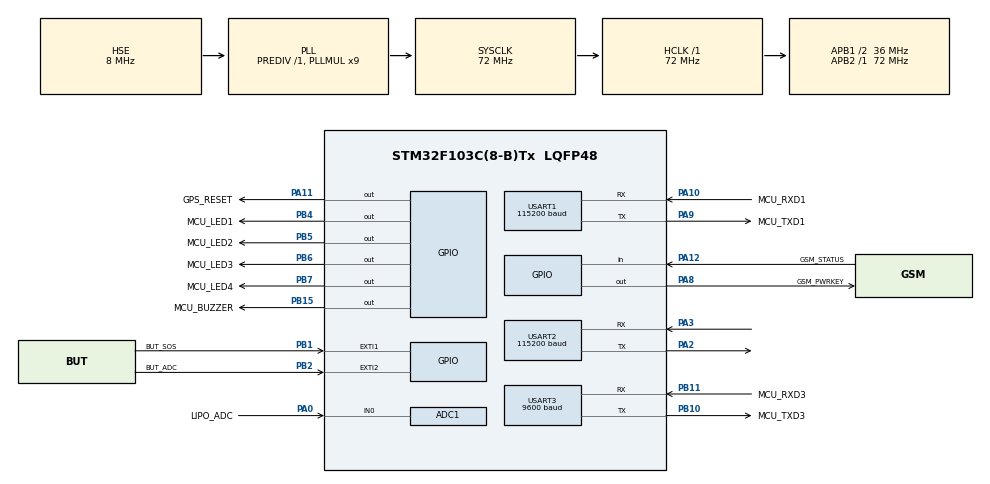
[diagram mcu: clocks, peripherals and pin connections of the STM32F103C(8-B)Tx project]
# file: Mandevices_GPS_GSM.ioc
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ADC1.Channel-0\#ChannelRegularConversion=ADC_CHANNEL_0
ADC1.ContinuousConvMode=ENABLE
ADC1.NbrOfConversionFlag=1
ADC1.Rank-0\#ChannelRegularConversion=1
ADC1.SamplingTime-0\#ChannelRegularConversion=ADC_SAMPLETIME_1CYCLE_5
ADC1.master=1
Mcu.Family=STM32F1
Mcu.Name=STM32F103C(8-B)Tx
Mcu.Package=LQFP48
NVIC.EXTI1_IRQn=true\:0\:0\:false\:false\:true\:true\:true\:true
NVIC.EXTI2_IRQn=true\:0\:0\:false\:false\:true\:true\:true\:true
NVIC.PriorityGroup=NVIC_PRIORITYGROUP_4
NVIC.TIM1_UP_IRQn=true\:0\:0\:false\:false\:true\:true\:true\:true
NVIC.TIM2_IRQn=true\:1\:0\:true\:false\:true\:true\:true\:true
NVIC.TIM3_IRQn=true\:1\:0\:true\:false\:true\:true\:true\:true
NVIC.USART2_IRQn=true\:2\:0\:true\:false\:true\:true\:true\:true
NVIC.USART3_IRQn=true\:2\:0\:true\:false\:true\:true\:true\:true
PA0-WKUP.GPIO_Label=LIPO_ADC
PA0-WKUP.Signal=ADCx_IN0
PA10.GPIO_Label=MCU_RXD1
PA10.Mode=Asynchronous
PA10.Signal=USART1_RX
PA11.GPIO_Label=GPS_RESET
PA11.GPIO_PuPd=GPIO_NOPULL
PA11.GPIO_Speed=GPIO_SPEED_FREQ_HIGH
PA11.Signal=GPIO_Output
PA12.GPIO_Label=GSM_STATUS
PA12.Signal=GPIO_Input
PA13.Mode=Serial_Wire
PA13.Signal=SYS_JTMS-SWDIO
PA14.Mode=Serial_Wire
PA14.Signal=SYS_JTCK-SWCLK
PA2.GPIO_Mode=GPIO_MODE_AF_PP
PA2.GPIO_Speed=GPIO_SPEED_FREQ_HIGH
PA2.Mode=Asynchronous
PA2.Signal=USART2_TX
PA3.GPIO_Mode=GPIO_MODE_INPUT
PA3.GPIO_PuPd=GPIO_NOPULL
PA3.Mode=Asynchronous
PA3.Signal=USART2_RX
PA8.GPIO_Label=GSM_PWRKEY
PA8.GPIO_Speed=GPIO_SPEED_FREQ_HIGH
PA8.Signal=GPIO_Output
PA9.GPIO_Label=MCU_TXD1
PA9.Mode=Asynchronous
PA9.Signal=USART1_TX
PB1.GPIO_Label=BUT_SOS
PB1.GPIO_ModeDefaultEXTI=GPIO_MODE_IT_FALLING
PB1.GPIO_PuPd=GPIO_PULLUP
PB1.Signal=GPXTI1
PB10.GPIO_Label=MCU_TXD3
PB10.Mode=Asynchronous
PB10.Signal=USART3_TX
PB11.GPIO_Label=MCU_RXD3
PB11.Mode=Asynchronous
PB11.Signal=USART3_RX
PB15.GPIO_Label=MCU_BUZZER
PB15.GPIO_PuPd=GPIO_NOPULL
PB15.GPIO_Speed=GPIO_SPEED_FREQ_HIGH
PB15.Signal=GPIO_Output
PB2.GPIO_Label=BUT_ADC
PB2.GPIO_ModeDefaultEXTI=GPIO_MODE_IT_FALLING
PB2.GPIO_PuPd=GPIO_PULLUP
PB2.Signal=GPXTI2
PB4.GPIO_Label=MCU_LED1
PB4.GPIO_Speed=GPIO_SPEED_FREQ_HIGH
PB4.PinState=GPIO_PIN_SET
PB4.Signal=GPIO_Output
PB5.GPIO_Label=MCU_LED2
PB5.GPIO_Speed=GPIO_SPEED_FREQ_HIGH
PB5.PinState=GPIO_PIN_SET
PB5.Signal=GPIO_Output
PB6.GPIO_Label=MCU_LED3
PB6.GPIO_Speed=GPIO_SPEED_FREQ_HIGH
PB6.PinState=GPIO_PIN_SET
PB6.Signal=GPIO_Output
PB7.GPIO_Label=MCU_LED4
PB7.GPIO_Speed=GPIO_SPEED_FREQ_HIGH
PB7.PinState=GPIO_PIN_SET
PB7.Signal=GPIO_Output
PD0-OSC_IN.Mode=HSE-External-Oscillator
PD0-OSC_IN.Signal=RCC_OSC_IN
PD1-OSC_OUT.Mode=HSE-External-Oscillator
PD1-OSC_OUT.Signal=RCC_OSC_OUT
ProjectManager.HeapSize=0x200
ProjectManager.StackSize=0x400
ProjectManager.TargetToolchain=Makefile
RCC.ADCPresc=RCC_ADCPCLK2_DIV6
RCC.AHBFreq_Value=72000000
RCC.APB1CLKDivider=RCC_HCLK_DIV2
RCC.APB1Freq_Value=36000000
RCC.APB1TimFreq_Value=72000000
RCC.APB2Freq_Value=72000000
RCC.APB2TimFreq_Value=72000000
RCC.HCLKFreq_Value=72000000
RCC.PLLMUL=RCC_PLL_MUL9
RCC.PLLSourceVirtual=RCC_PLLSOURCE_HSE
RCC.SYSCLKFreq_VALUE=72000000
RCC.SYSCLKSource=RCC_SYSCLKSOURCE_PLLCLK
RCC.USBFreq_Value=72000000
SH.ADCx_IN0.0=ADC1_IN0,IN0
TIM1.Period=30000
TIM1.Prescaler=7200
TIM2.AutoReloadPreload=TIM_AUTORELOAD_PRELOAD_ENABLE
TIM2.Period=2000
TIM2.Prescaler=7200
TIM3.Prescaler=14399
USART1.BaudRate=115200
USART1.VirtualMode=VM_ASYNC
USART2.BaudRate=115200
USART2.VirtualMode=VM_ASYNC
USART3.BaudRate=9600
USART3.VirtualMode=VM_ASYNC
VP_TIM1_VS_ClockSourceINT.Mode=Internal
VP_TIM2_VS_ClockSourceINT.Mode=Internal
VP_TIM3_VS_ClockSourceINT.Mode=Internal
board=custom

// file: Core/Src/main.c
/* USER CODE BEGIN Header */
/**
  ******************************************************************************
  * @file           : main.c
  * @brief          : Main program body
  ******************************************************************************
  * @attention
  *
  * <h2><center>&copy; Copyright (c) 2022 STMicroelectronics.
  * All rights reserved.</center></h2>
  *
  * This software component is licensed by ST under BSD 3-Clause license,
  * the "License"; You may not use this file except in compliance with the
  * License. You may obtain a copy of the License at:
  *                        opensource.org/licenses/BSD-3-Clause
  *
  ******************************************************************************
  */
/* USER CODE END Header */
#include "main.h"
#include "adc.h"
#include "tim.h"
#include "usart.h"
#include "gpio.h"

/* USER CODE BEGIN Includes */
#include <stdio.h>
#include <string.h>
#include <stdlib.h>
#include <math.h>
#include "sim800c.h"
#include "l70.h"
/* USER CODE END Includes */

/* USER CODE BEGIN PV */
// char data[100];
bool SOSFlag = false;
char simNumber[20] = "0987035442";//0921342634
char latData[15] = {0};
char longData[15] = {0};
char simMessage[200] = {0};
char *GPSResponse;
char gps[500];

int count = 0;
char x;
int index1 = 0;
uint16_t ADC_value;

uint32_t Timesleepcurrent = 0;
uint32_t Timesleepstart   = 0;
bool flagsleep= false;
/* USER CODE END PV */

void SystemClock_Config(void);

/* USER CODE BEGIN 0 */

void HAL_UART_RxCpltCallback(UART_HandleTypeDef *huart)
{
  Timesleepstart = Timesleepcurrent;
  if(huart == &huart2)
  {
    sim800c_callback();
  }
  if(huart == &huart3)
  {
    l70_callback();
  }
}

void HAL_TIM_PeriodElapsedCallback(TIM_HandleTypeDef *htim)
{
  Timesleepstart = Timesleepcurrent;
  if(htim == &htim2)
  {
    sim800c_timerCallback();
  }
  //timer1 == 3s
  if(htim == &htim1)
  {
    // wakeup GPS
    //l70_init();

    HAL_GPIO_WritePin(GPIOB, GPIO_PIN_4, GPIO_PIN_SET);
    HAL_GPIO_WritePin(GPIOB, GPIO_PIN_5, GPIO_PIN_SET);
    HAL_GPIO_WritePin(GPIOB, GPIO_PIN_6, GPIO_PIN_SET);
    HAL_GPIO_WritePin(GPIOB, GPIO_PIN_7, GPIO_PIN_SET);
    HAL_TIM_Base_Stop_IT(&htim1);
  }
}

void HAL_GPIO_EXTI_Callback(uint16_t GPIO_Pin)
{
  Timesleepstart = Timesleepcurrent;
  //wakeup
  // l70_sleep();
  if (flagsleep == true)
  {
    SystemClock_Config();
    HAL_ResumeTick();
    HAL_PWR_DisableSleepOnExit();
    // wakeup GPS
    //l70_init();
    // wakeup SIM
    //sim800c_wakeup();
  }
  //read ADC pin
  if (GPIO_Pin == BUT_ADC_Pin)
  {
    ADC_value = HAL_ADC_GetValue(&hadc1);
    //>4.1V
    if (ADC_value > 3134)
    {
      HAL_GPIO_WritePin(GPIOB, GPIO_PIN_4, GPIO_PIN_RESET);
      HAL_GPIO_WritePin(GPIOB, GPIO_PIN_5, GPIO_PIN_RESET);
      HAL_GPIO_WritePin(GPIOB, GPIO_PIN_6, GPIO_PIN_RESET);
      HAL_GPIO_WritePin(GPIOB, GPIO_PIN_7, GPIO_PIN_RESET);
    }
    //3.7-4.1V
    if (ADC_value <= 3134 && ADC_value > 2828)
    {
      HAL_GPIO_WritePin(GPIOB, GPIO_PIN_4, GPIO_PIN_SET);
      HAL_GPIO_WritePin(GPIOB, GPIO_PIN_5, GPIO_PIN_RESET);
      HAL_GPIO_WritePin(GPIOB, GPIO_PIN_6, GPIO_PIN_RESET);
      HAL_GPIO_WritePin(GPIOB, GPIO_PIN_7, GPIO_PIN_RESET);
    }
    //3.3->3.7V
    if (ADC_value <= 2828 && ADC_value > 2522)
    {
      HAL_GPIO_WritePin(GPIOB, GPIO_PIN_4, GPIO_PIN_SET);
      HAL_GPIO_WritePin(GPIOB, GPIO_PIN_5, GPIO_PIN_SET);
      HAL_GPIO_WritePin(GPIOB, GPIO_PIN_6, GPIO_PIN_RESET);
      HAL_GPIO_WritePin(GPIOB, GPIO_PIN_7, GPIO_PIN_RESET);
    }
    //0->3.3V
    if (ADC_value <= 2522)
    {
      HAL_GPIO_WritePin(GPIOB, GPIO_PIN_4, GPIO_PIN_SET);
      HAL_GPIO_WritePin(GPIOB, GPIO_PIN_5, GPIO_PIN_SET);
      HAL_GPIO_WritePin(GPIOB, GPIO_PIN_6, GPIO_PIN_SET);
      HAL_GPIO_WritePin(GPIOB, GPIO_PIN_7, GPIO_PIN_RESET);
    }
    // if (flagsleep == true)
    // {
    //   SystemClock_Config();
    //   HAL_ResumeTick();
    //   HAL_PWR_DisableSleepOnExit();
    //   //wakeup GPS
    //   l70_init();
    //   //wakeup SIM
    //   sim800c_wakeup();
    // }
    //l70_sleep();
  }
  if (GPIO_Pin == BUT_SOS_Pin)
  {
    //l70_init();
    SOSFlag = true;
    HAL_GPIO_WritePin(MCU_BUZZER_GPIO_Port, MCU_BUZZER_Pin, GPIO_PIN_SET);
  }
  HAL_TIM_Base_Start_IT(&htim1);
}
/* USER CODE END 0 */

int main(void)
{
  /* USER CODE BEGIN 1 */
  uint32_t timeStart = 0;
  uint32_t timeCurrent = 0;
  /* USER CODE END 1 */

  /* MCU Configuration--------------------------------------------------------*/

  /* Reset of all peripherals, Initializes the Flash interface and the Systick. */
  HAL_Init();

  /* Configure the system clock */
  SystemClock_Config();

  /* Initialize all configured peripherals */
  MX_GPIO_Init();
  MX_ADC1_Init();
  MX_USART2_UART_Init();
  MX_USART3_UART_Init();
  MX_USART1_UART_Init();
  MX_TIM2_Init();
  MX_TIM1_Init();
  MX_TIM3_Init();
  /* USER CODE BEGIN 2 */
  HAL_ADC_Start(&hadc1);
  timeStart = HAL_GetTick();
  // while(HAL_GPIO_ReadPin(GSM_STATUS_GPIO_Port, GSM_STATUS_Pin) == GPIO_PIN_RESET)
  // {
  //   HAL_GPIO_WritePin(GSM_PWRKEY_GPIO_Port, GSM_PWRKEY_Pin, SET);
  //   HAL_Delay(1000);
  // }
  //sim800c_init();
  sim800c_sleep();
  HAL_Delay(100);
  l70_init();
  HAL_Delay(1000);
  // do
  // {
  //   GPSResponse = l70_receiveGPS();
  //   l70_handleGPS(latData, longData, GPSResponse);
  //   HAL_Delay(1000);
  // } while (((strstr(latData, ".000000") != NULL) && (strstr(longData, ".000000") != NULL)));

  // HAL_GPIO_WritePin(MCU_BUZZER_GPIO_Port, MCU_BUZZER_Pin, SET);

  GPSResponse = l70_receiveGPS();
  l70_handleGPS(latData, longData, GPSResponse);
  sprintf(simMessage, "https://www.google.com/maps/search/?api=1&query=%s,%s\n", latData, longData);
  HAL_UART_Transmit(&huart1, (uint8_t*)simMessage, 100, 200);
  memset(simMessage, '\0', sizeof(simMessage));
  /* USER CODE END 2 */

  /* Infinite loop */
  while(1)
  {

    /* USER CODE BEGIN 3 */
    // if(SOSFlag == true)
    // {
    //   timeCurrent = HAL_GetTick();
    //   if(timeCurrent - timeStart > 2000)
    //   {
    //     timeStart = timeCurrent;

    //     HAL_UART_Transmit(&huart1, (uint8_t*)"Bat dau gui tin nhan\r\n", strlen("Bat dau gui tin nhan\r\n"), 100);
    //     GPSResponse = l70_receiveGPS();
    //     //HAL_UART_Transmit(&huart1, (uint8_t*)GPSResponse, strlen(GPSResponse), 100);
    //     l70_handleGPS(latData, longData, GPSResponse);
    //     sprintf(simMessage, "https://www.google.com/maps/search/?api=1&query=%s,%s\n", latData, longData);
    //     HAL_UART_Transmit(&huart1, (uint8_t*)simMessage, 100, 200);
    //     //sim800c_sendSMS(latData, longData, simNumber, simMessage);
    //     memset(simMessage, '\0', sizeof(simMessage));
    //     SOSFlag = false;
    //     HAL_GPIO_WritePin(MCU_BUZZER_GPIO_Port, MCU_BUZZER_Pin, GPIO_PIN_RESET);
    //   }
    //   else
    //   {
    //     HAL_UART_Transmit(&huart1, (uint8_t*)"Doi mot luc\r\n", strlen("Doi mot luc\r\n"), 100);
    //     SOSFlag = false;
    //   }
    //   Timesleepstart = HAL_GetTick();
    // }

    Timesleepcurrent = HAL_GetTick();
    if(Timesleepcurrent - Timesleepstart > 10000)
    {
      flagsleep = true;
      //l70_sleep();
      // sim800c_sleep();

      //HAL_GPIO_WritePin(GPIOB, GPIO_PIN_4, GPIO_PIN_RESET);
      /****** Suspend the Ticks before entering the STOP mode or else this can wake the device up **********/
      HAL_SuspendTick();
      HAL_PWR_EnableSleepOnExit();
      /* Enter Stop Mode */
      HAL_PWR_EnterSTOPMode(PWR_LOWPOWERREGULATOR_ON, PWR_STOPENTRY_WFI);
    }
    HAL_Delay(1000);
    // timeCurrent = HAL_GetTick();
    //   if(timeCurrent - timeStart > 1000)
    //   {
    //     timeStart = timeCurrent;
    //     GPSResponse = l70_receiveGPS();
    //     l70_handleGPS(latData, longData, GPSResponse);
    //     sprintf(simMessage, "%s  %s\n", latData, longData);
    //     int len = strlen(simMessage);
    //     memcpy(gps + len*count, simMessage, len);
    //     count++;
    //     if (count == 10)
    //     {
    //       HAL_UART_Transmit(&huart1, (uint8_t*)gps, strlen(gps), 1000);
    //       count = 0;
    //     }
    //     memset(simMessage, '\0', sizeof(simMessage));
    //   }
  }
  /* USER CODE END 3 */
}

void SystemClock_Config(void)
{
  RCC_OscInitTypeDef RCC_OscInitStruct = {0};
  RCC_ClkInitTypeDef RCC_ClkInitStruct = {0};
  RCC_PeriphCLKInitTypeDef PeriphClkInit = {0};

  /** Initializes the RCC Oscillators according to the specified parameters
  * in the RCC_OscInitTypeDef structure.
  */
  RCC_OscInitStruct.OscillatorType = RCC_OSCILLATORTYPE_HSE;
  RCC_OscInitStruct.HSEState = RCC_HSE_ON;
  RCC_OscInitStruct.HSEPredivValue = RCC_HSE_PREDIV_DIV1;
  RCC_OscInitStruct.HSIState = RCC_HSI_ON;
  RCC_OscInitStruct.PLL.PLLState = RCC_PLL_ON;
  RCC_OscInitStruct.PLL.PLLSource = RCC_PLLSOURCE_HSE;
  RCC_OscInitStruct.PLL.PLLMUL = RCC_PLL_MUL9;
  if (HAL_RCC_OscConfig(&RCC_OscInitStruct) != HAL_OK)
  {
    Error_Handler();
  }
  /** Initializes the CPU, AHB and APB buses clocks
  */
  RCC_ClkInitStruct.ClockType = RCC_CLOCKTYPE_HCLK|RCC_CLOCKTYPE_SYSCLK
                              |RCC_CLOCKTYPE_PCLK1|RCC_CLOCKTYPE_PCLK2;
  RCC_ClkInitStruct.SYSCLKSource = RCC_SYSCLKSOURCE_PLLCLK;
  RCC_ClkInitStruct.AHBCLKDivider = RCC_SYSCLK_DIV1;
  RCC_ClkInitStruct.APB1CLKDivider = RCC_HCLK_DIV2;
  RCC_ClkInitStruct.APB2CLKDivider = RCC_HCLK_DIV1;

  if (HAL_RCC_ClockConfig(&RCC_ClkInitStruct, FLASH_LATENCY_2) != HAL_OK)
  {
    Error_Handler();
  }
  PeriphClkInit.PeriphClockSelection = RCC_PERIPHCLK_ADC;
  PeriphClkInit.AdcClockSelection = RCC_ADCPCLK2_DIV6;
  if (HAL_RCCEx_PeriphCLKConfig(&PeriphClkInit) != HAL_OK)
  {
    Error_Handler();
  }
}

void Error_Handler(void)
{
  __disable_irq();
  while (1)
  {
  }
}

/************************ (C) COPYRIGHT STMicroelectronics *****END OF FILE****/
